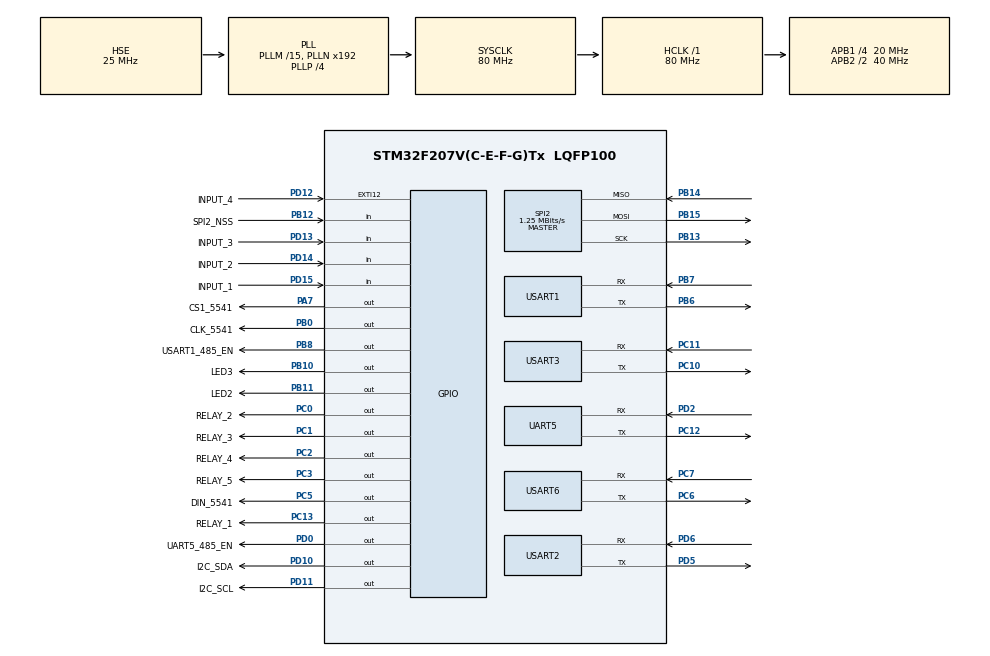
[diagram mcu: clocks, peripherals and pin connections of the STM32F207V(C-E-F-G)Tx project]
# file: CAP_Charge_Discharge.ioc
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Dma.Request0=UART5_TX
Dma.Request1=USART2_TX
Dma.Request2=USART1_TX
Dma.Request3=USART3_TX
Dma.Request4=USART6_TX
Dma.UART5_TX.0.Direction=DMA_MEMORY_TO_PERIPH
Dma.UART5_TX.0.FIFOMode=DMA_FIFOMODE_DISABLE
Dma.UART5_TX.0.Instance=DMA1_Stream7
Dma.UART5_TX.0.MemDataAlignment=DMA_MDATAALIGN_BYTE
Dma.UART5_TX.0.MemInc=DMA_MINC_ENABLE
Dma.UART5_TX.0.Mode=DMA_NORMAL
Dma.UART5_TX.0.PeriphDataAlignment=DMA_PDATAALIGN_BYTE
Dma.UART5_TX.0.PeriphInc=DMA_PINC_DISABLE
Dma.UART5_TX.0.Priority=DMA_PRIORITY_LOW
Dma.USART1_TX.2.Direction=DMA_MEMORY_TO_PERIPH
Dma.USART1_TX.2.FIFOMode=DMA_FIFOMODE_DISABLE
Dma.USART1_TX.2.Instance=DMA2_Stream7
Dma.USART1_TX.2.MemDataAlignment=DMA_MDATAALIGN_BYTE
Dma.USART1_TX.2.MemInc=DMA_MINC_ENABLE
Dma.USART1_TX.2.Mode=DMA_NORMAL
Dma.USART1_TX.2.PeriphDataAlignment=DMA_PDATAALIGN_BYTE
Dma.USART1_TX.2.PeriphInc=DMA_PINC_DISABLE
Dma.USART1_TX.2.Priority=DMA_PRIORITY_LOW
Dma.USART2_TX.1.Direction=DMA_MEMORY_TO_PERIPH
Dma.USART2_TX.1.FIFOMode=DMA_FIFOMODE_DISABLE
Dma.USART2_TX.1.Instance=DMA1_Stream6
Dma.USART2_TX.1.MemDataAlignment=DMA_MDATAALIGN_BYTE
Dma.USART2_TX.1.MemInc=DMA_MINC_ENABLE
Dma.USART2_TX.1.Mode=DMA_NORMAL
Dma.USART2_TX.1.PeriphDataAlignment=DMA_PDATAALIGN_BYTE
Dma.USART2_TX.1.PeriphInc=DMA_PINC_DISABLE
Dma.USART2_TX.1.Priority=DMA_PRIORITY_LOW
Dma.USART3_TX.3.Direction=DMA_MEMORY_TO_PERIPH
Dma.USART3_TX.3.FIFOMode=DMA_FIFOMODE_DISABLE
Dma.USART3_TX.3.Instance=DMA1_Stream3
Dma.USART3_TX.3.MemDataAlignment=DMA_MDATAALIGN_BYTE
Dma.USART3_TX.3.MemInc=DMA_MINC_ENABLE
Dma.USART3_TX.3.Mode=DMA_NORMAL
Dma.USART3_TX.3.PeriphDataAlignment=DMA_PDATAALIGN_BYTE
Dma.USART3_TX.3.PeriphInc=DMA_PINC_DISABLE
Dma.USART3_TX.3.Priority=DMA_PRIORITY_LOW
Dma.USART6_TX.4.Direction=DMA_MEMORY_TO_PERIPH
Dma.USART6_TX.4.FIFOMode=DMA_FIFOMODE_DISABLE
Dma.USART6_TX.4.Instance=DMA2_Stream6
Dma.USART6_TX.4.MemDataAlignment=DMA_MDATAALIGN_BYTE
Dma.USART6_TX.4.MemInc=DMA_MINC_ENABLE
Dma.USART6_TX.4.Mode=DMA_NORMAL
Dma.USART6_TX.4.PeriphDataAlignment=DMA_PDATAALIGN_BYTE
Dma.USART6_TX.4.PeriphInc=DMA_PINC_DISABLE
Dma.USART6_TX.4.Priority=DMA_PRIORITY_LOW
FREERTOS.BinarySemaphores01=BinarySem_rtu,Dynamic,NULL
FREERTOS.Tasks01=InitTask,0,128,StartInitTask,Default,NULL,Dynamic,NULL,NULL;ModbusMasterPol,0,256,Task_ModbusMasterPoll,Default,NULL,Dynamic,NULL,NULL;UartHandle,2,256,Task_UartHandle,Default,NULL,Dynamic,NULL,NULL
FREERTOS.configMINIMAL_STACK_SIZE=64
FREERTOS.configQUEUE_REGISTRY_SIZE=32
FREERTOS.configTIMER_QUEUE_LENGTH=32
FREERTOS.configTOTAL_HEAP_SIZE=25600
FREERTOS.configUSE_TIMERS=1
IWDG.Prescaler=IWDG_PRESCALER_32
IWDG.Reload=1000
Mcu.Family=STM32F2
Mcu.Name=STM32F207V(C-E-F-G)Tx
Mcu.Package=LQFP100
NVIC.DMA1_Stream3_IRQn=true\:5\:0\:false\:false\:true\:true\:false\:true
NVIC.DMA1_Stream6_IRQn=true\:5\:0\:false\:false\:true\:true\:false\:true
NVIC.DMA1_Stream7_IRQn=true\:5\:0\:false\:false\:true\:true\:false\:true
NVIC.DMA2_Stream6_IRQn=true\:5\:0\:false\:false\:true\:true\:false\:true
NVIC.DMA2_Stream7_IRQn=true\:5\:0\:false\:false\:true\:true\:false\:true
NVIC.EXTI15_10_IRQn=true\:5\:0\:false\:false\:true\:true\:true\:true
NVIC.PriorityGroup=NVIC_PRIORITYGROUP_4
NVIC.TIM2_IRQn=true\:5\:0\:false\:false\:true\:true\:true\:true
NVIC.TIM8_TRG_COM_TIM14_IRQn=true\:0\:0\:false\:false\:true\:false\:false\:true
NVIC.TimeBase=TIM8_TRG_COM_TIM14_IRQn
NVIC.TimeBaseIP=TIM14
NVIC.UART5_IRQn=true\:5\:0\:false\:false\:true\:true\:true\:true
NVIC.USART1_IRQn=true\:5\:0\:false\:false\:true\:true\:true\:true
NVIC.USART3_IRQn=true\:5\:0\:false\:false\:true\:true\:true\:true
NVIC.USART6_IRQn=true\:5\:0\:false\:false\:true\:true\:true\:true
PA13.Mode=Serial_Wire
PA13.Signal=SYS_JTMS-SWDIO
PA14.Mode=Serial_Wire
PA14.Signal=SYS_JTCK-SWCLK
PA7.GPIO_Label=CS1_5541
PA7.Signal=GPIO_Output
PB0.GPIO_Label=CLK_5541
PB0.Signal=GPIO_Output
PB10.GPIO_Label=LED3
PB10.Signal=GPIO_Output
PB11.GPIO_Label=LED2
PB11.Signal=GPIO_Output
PB12.GPIO_Label=SPI2_NSS
PB12.Signal=GPIO_Input
PB13.Mode=Full_Duplex_Master
PB13.Signal=SPI2_SCK
PB14.Mode=Full_Duplex_Master
PB14.Signal=SPI2_MISO
PB15.Mode=Full_Duplex_Master
PB15.Signal=SPI2_MOSI
PB6.Mode=Asynchronous
PB6.Signal=USART1_TX
PB7.Mode=Asynchronous
PB7.Signal=USART1_RX
PB8.GPIO_Label=USART1_485_EN
PB8.Signal=GPIO_Output
PC0.GPIO_Label=RELAY_2
PC0.Signal=GPIO_Output
PC1.GPIO_Label=RELAY_3
PC1.Signal=GPIO_Output
PC10.Mode=Asynchronous
PC10.Signal=USART3_TX
PC11.Mode=Asynchronous
PC11.Signal=USART3_RX
PC12.Mode=Asynchronous
PC12.Signal=UART5_TX
PC13.GPIO_Label=RELAY_1
PC13.Signal=GPIO_Output
PC2.GPIO_Label=RELAY_4
PC2.Signal=GPIO_Output
PC3.GPIO_Label=RELAY_5
PC3.Signal=GPIO_Output
PC5.GPIO_Label=DIN_5541
PC5.Signal=GPIO_Output
PC6.Mode=Asynchronous
PC6.Signal=USART6_TX
PC7.Mode=Asynchronous
PC7.Signal=USART6_RX
PD0.GPIO_Label=UART5_485_EN
PD0.Signal=GPIO_Output
PD10.GPIO_Label=I2C_SDA
PD10.Signal=GPIO_Output
PD11.GPIO_Label=I2C_SCL
PD11.Signal=GPIO_Output
PD12.GPIO_Label=INPUT_4
PD12.GPIO_ModeDefaultEXTI=GPIO_MODE_IT_FALLING
PD12.Signal=GPXTI12
PD13.GPIO_Label=INPUT_3
PD13.Signal=GPIO_Input
PD14.GPIO_Label=INPUT_2
PD14.Signal=GPIO_Input
PD15.GPIO_Label=INPUT_1
PD15.Signal=GPIO_Input
PD2.Mode=Asynchronous
PD2.Signal=UART5_RX
PD5.Mode=Asynchronous
PD5.Signal=USART2_TX
PD6.Mode=Asynchronous
PD6.Signal=USART2_RX
PH0-OSC_IN.Mode=HSE-External-Oscillator
PH0-OSC_IN.Signal=RCC_OSC_IN
PH1-OSC_OUT.Mode=HSE-External-Oscillator
PH1-OSC_OUT.Signal=RCC_OSC_OUT
ProjectManager.HeapSize=0x200
ProjectManager.StackSize=0x400
ProjectManager.TargetToolchain=MDK-ARM V5.27
RCC.48MHZClocksFreq_Value=80000000
RCC.AHBFreq_Value=80000000
RCC.APB1CLKDivider=RCC_HCLK_DIV4
RCC.APB1Freq_Value=20000000
RCC.APB1TimFreq_Value=40000000
RCC.APB2CLKDivider=RCC_HCLK_DIV2
RCC.APB2Freq_Value=40000000
RCC.APB2TimFreq_Value=80000000
RCC.CortexFreq_Value=80000000
RCC.HCLKFreq_Value=80000000
RCC.HSE_VALUE=25000000
RCC.HSI_VALUE=16000000
RCC.LSE_VALUE=32768
RCC.PLLM=15
RCC.PLLP=RCC_PLLP_DIV4
RCC.PLLSourceVirtual=RCC_PLLSOURCE_HSE
RCC.SYSCLKFreq_VALUE=80000000
RCC.SYSCLKSource=RCC_SYSCLKSOURCE_PLLCLK
RCC.VCOOutputFreq_Value=320000000
SPI2.BaudRatePrescaler=SPI_BAUDRATEPRESCALER_16
SPI2.CalculateBaudRate=1.25 MBits/s
SPI2.Direction=SPI_DIRECTION_2LINES
SPI2.Mode=SPI_MODE_MASTER
SPI2.VirtualType=VM_MASTER
TIM2.AutoReloadPreload=TIM_AUTORELOAD_PRELOAD_ENABLE
TIM2.Period=99
TIM2.Prescaler=19
UART5.VirtualMode=Asynchronous
USART1.VirtualMode=VM_ASYNC
USART2.VirtualMode=VM_ASYNC
USART3.VirtualMode=VM_ASYNC
USART6.VirtualMode=VM_ASYNC
VP_FREERTOS_VS_CMSIS_V1.Mode=CMSIS_V1
VP_IWDG_VS_IWDG.Mode=IWDG_Activate
VP_SYS_VS_tim14.Mode=TIM14
VP_TIM2_VS_ClockSourceINT.Mode=Internal
board=custom

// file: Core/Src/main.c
/* USER CODE BEGIN Header */
/**
  ******************************************************************************
  * @file           : main.c
  * @brief          : Main program body
  ******************************************************************************
  * @attention
  *
  * <h2><center>&copy; Copyright (c) 2020 STMicroelectronics.
  * All rights reserved.</center></h2>
  *
  * This software component is licensed by ST under Ultimate Liberty license
  * SLA0044, the "License"; You may not use this file except in compliance with
  * the License. You may obtain a copy of the License at:
  *                             www.st.com/SLA0044
  *
  ******************************************************************************
  */
/* USER CODE END Header */

#include "main.h"
#include "cmsis_os.h"

/* USER CODE BEGIN Includes */
#include "FM_Uart.h"
#include "Task_MB_RTU_Master.h"
#include "Task_APPLogic.h"
#include "Task_DCPower.h"
#include "Task_HF_SampleBoard.h"
#include "Task_LCD_Display.h"
#include "Task_PC_Comm.h"

/* USER CODE END Includes */

IWDG_HandleTypeDef hiwdg;

SPI_HandleTypeDef hspi2;

TIM_HandleTypeDef htim2;

UART_HandleTypeDef huart5;
UART_HandleTypeDef huart1;
UART_HandleTypeDef huart2;
UART_HandleTypeDef huart3;
UART_HandleTypeDef huart6;
DMA_HandleTypeDef hdma_uart5_tx;
DMA_HandleTypeDef hdma_usart1_tx;
DMA_HandleTypeDef hdma_usart2_tx;
DMA_HandleTypeDef hdma_usart3_tx;
DMA_HandleTypeDef hdma_usart6_tx;

osThreadId InitTaskHandle;
osThreadId ModbusMasterPolHandle;
osThreadId UartHandleHandle;
osSemaphoreId BinarySem_rtuHandle;
/* USER CODE BEGIN PV */
uint8_t UartRecv[NUM_UARTCHANNEL];
/* USER CODE END PV */

void SystemClock_Config(void);
static void MX_GPIO_Init(void);
static void MX_DMA_Init(void);
static void MX_SPI2_Init(void);
static void MX_USART3_UART_Init(void);
static void MX_UART5_Init(void);
static void MX_IWDG_Init(void);
static void MX_TIM2_Init(void);
static void MX_USART2_UART_Init(void);
static void MX_USART1_UART_Init(void);
static void MX_USART6_UART_Init(void);
void StartInitTask(void const * argument);
void Task_ModbusMasterPoll(void const * argument);
void Task_UartHandle(void const * argument);

int main(void)
{

  /* MCU Configuration--------------------------------------------------------*/

  /* Reset of all peripherals, Initializes the Flash interface and the Systick. */
  HAL_Init();

  /* Configure the system clock */
  SystemClock_Config();

  /* Initialize all configured peripherals */
  MX_GPIO_Init();
  MX_DMA_Init();
  MX_SPI2_Init();
  MX_USART3_UART_Init();
  MX_UART5_Init();
  MX_IWDG_Init();
  MX_TIM2_Init();
  MX_USART2_UART_Init();
  MX_USART1_UART_Init();
  MX_USART6_UART_Init();

  /* Create the semaphores(s) */
  /* definition and creation of BinarySem_rtu */
  osSemaphoreDef(BinarySem_rtu);
  BinarySem_rtuHandle = osSemaphoreCreate(osSemaphore(BinarySem_rtu), 1);

  /* Create the thread(s) */
  /* definition and creation of InitTask */
  osThreadDef(InitTask, StartInitTask, osPriorityNormal, 0, 128);
  InitTaskHandle = osThreadCreate(osThread(InitTask), NULL);

  /* definition and creation of ModbusMasterPol */
  osThreadDef(ModbusMasterPol, Task_ModbusMasterPoll, osPriorityNormal, 0, 256);
  ModbusMasterPolHandle = osThreadCreate(osThread(ModbusMasterPol), NULL);

  /* definition and creation of UartHandle */
  osThreadDef(UartHandle, Task_UartHandle, osPriorityHigh, 0, 256);
  UartHandleHandle = osThreadCreate(osThread(UartHandle), NULL);

  /* Start scheduler */
  osKernelStart();

  /* We should never get here as control is now taken by the scheduler */

  /* Infinite loop */
  while (1)
  {

  }
}

void SystemClock_Config(void)
{
  RCC_OscInitTypeDef RCC_OscInitStruct = {0};
  RCC_ClkInitTypeDef RCC_ClkInitStruct = {0};

  /** Initializes the CPU, AHB and APB busses clocks
  */
  RCC_OscInitStruct.OscillatorType = RCC_OSCILLATORTYPE_LSI|RCC_OSCILLATORTYPE_HSE;
  RCC_OscInitStruct.HSEState = RCC_HSE_ON;
  RCC_OscInitStruct.LSIState = RCC_LSI_ON;
  RCC_OscInitStruct.PLL.PLLState = RCC_PLL_ON;
  RCC_OscInitStruct.PLL.PLLSource = RCC_PLLSOURCE_HSE;
  RCC_OscInitStruct.PLL.PLLM = 15;
  RCC_OscInitStruct.PLL.PLLN = 192;
  RCC_OscInitStruct.PLL.PLLP = RCC_PLLP_DIV4;
  RCC_OscInitStruct.PLL.PLLQ = 4;
  if (HAL_RCC_OscConfig(&RCC_OscInitStruct) != HAL_OK)
  {
    Error_Handler();
  }
  /** Initializes the CPU, AHB and APB busses clocks
  */
  RCC_ClkInitStruct.ClockType = RCC_CLOCKTYPE_HCLK|RCC_CLOCKTYPE_SYSCLK
                              |RCC_CLOCKTYPE_PCLK1|RCC_CLOCKTYPE_PCLK2;
  RCC_ClkInitStruct.SYSCLKSource = RCC_SYSCLKSOURCE_PLLCLK;
  RCC_ClkInitStruct.AHBCLKDivider = RCC_SYSCLK_DIV1;
  RCC_ClkInitStruct.APB1CLKDivider = RCC_HCLK_DIV4;
  RCC_ClkInitStruct.APB2CLKDivider = RCC_HCLK_DIV2;

  if (HAL_RCC_ClockConfig(&RCC_ClkInitStruct, FLASH_LATENCY_2) != HAL_OK)
  {
    Error_Handler();
  }
}

static void MX_IWDG_Init(void)
{

  hiwdg.Instance = IWDG;
  hiwdg.Init.Prescaler = IWDG_PRESCALER_32;
  hiwdg.Init.Reload = 1000;
  if (HAL_IWDG_Init(&hiwdg) != HAL_OK)
  {
    Error_Handler();
  }

}

static void MX_SPI2_Init(void)
{

  /* SPI2 parameter configuration*/
  hspi2.Instance = SPI2;
  hspi2.Init.Mode = SPI_MODE_MASTER;
  hspi2.Init.Direction = SPI_DIRECTION_2LINES;
  hspi2.Init.DataSize = SPI_DATASIZE_8BIT;
  hspi2.Init.CLKPolarity = SPI_POLARITY_LOW;
  hspi2.Init.CLKPhase = SPI_PHASE_1EDGE;
  hspi2.Init.NSS = SPI_NSS_SOFT;
  hspi2.Init.BaudRatePrescaler = SPI_BAUDRATEPRESCALER_16;
  hspi2.Init.FirstBit = SPI_FIRSTBIT_MSB;
  hspi2.Init.TIMode = SPI_TIMODE_DISABLE;
  hspi2.Init.CRCCalculation = SPI_CRCCALCULATION_DISABLE;
  hspi2.Init.CRCPolynomial = 10;
  if (HAL_SPI_Init(&hspi2) != HAL_OK)
  {
    Error_Handler();
  }

}

static void MX_TIM2_Init(void)
{

  TIM_ClockConfigTypeDef sClockSourceConfig = {0};
  TIM_MasterConfigTypeDef sMasterConfig = {0};

  htim2.Instance = TIM2;
  htim2.Init.Prescaler = 19;
  htim2.Init.CounterMode = TIM_COUNTERMODE_UP;
  htim2.Init.Period = 99;
  htim2.Init.ClockDivision = TIM_CLOCKDIVISION_DIV1;
  htim2.Init.AutoReloadPreload = TIM_AUTORELOAD_PRELOAD_ENABLE;
  if (HAL_TIM_Base_Init(&htim2) != HAL_OK)
  {
    Error_Handler();
  }
  sClockSourceConfig.ClockSource = TIM_CLOCKSOURCE_INTERNAL;
  if (HAL_TIM_ConfigClockSource(&htim2, &sClockSourceConfig) != HAL_OK)
  {
    Error_Handler();
  }
  sMasterConfig.MasterOutputTrigger = TIM_TRGO_RESET;
  sMasterConfig.MasterSlaveMode = TIM_MASTERSLAVEMODE_DISABLE;
  if (HAL_TIMEx_MasterConfigSynchronization(&htim2, &sMasterConfig) != HAL_OK)
  {
    Error_Handler();
  }

}

static void MX_UART5_Init(void)
{

  huart5.Instance = UART5;
  huart5.Init.BaudRate = 115200;
  huart5.Init.WordLength = UART_WORDLENGTH_8B;
  huart5.Init.StopBits = UART_STOPBITS_1;
  huart5.Init.Parity = UART_PARITY_NONE;
  huart5.Init.Mode = UART_MODE_TX_RX;
  huart5.Init.HwFlowCtl = UART_HWCONTROL_NONE;
  huart5.Init.OverSampling = UART_OVERSAMPLING_16;
  if (HAL_UART_Init(&huart5) != HAL_OK)
  {
    Error_Handler();
  }

}

static void MX_USART1_UART_Init(void)
{

  huart1.Instance = USART1;
  huart1.Init.BaudRate = 115200;
  huart1.Init.WordLength = UART_WORDLENGTH_8B;
  huart1.Init.StopBits = UART_STOPBITS_1;
  huart1.Init.Parity = UART_PARITY_NONE;
  huart1.Init.Mode = UART_MODE_TX_RX;
  huart1.Init.HwFlowCtl = UART_HWCONTROL_NONE;
  huart1.Init.OverSampling = UART_OVERSAMPLING_16;
  if (HAL_UART_Init(&huart1) != HAL_OK)
  {
    Error_Handler();
  }

}

static void MX_USART2_UART_Init(void)
{

  huart2.Instance = USART2;
  huart2.Init.BaudRate = 115200;
  huart2.Init.WordLength = UART_WORDLENGTH_8B;
  huart2.Init.StopBits = UART_STOPBITS_1;
  huart2.Init.Parity = UART_PARITY_NONE;
  huart2.Init.Mode = UART_MODE_TX_RX;
  huart2.Init.HwFlowCtl = UART_HWCONTROL_NONE;
  huart2.Init.OverSampling = UART_OVERSAMPLING_16;
  if (HAL_UART_Init(&huart2) != HAL_OK)
  {
    Error_Handler();
  }

}

static void MX_USART3_UART_Init(void)
{

  huart3.Instance = USART3;
  huart3.Init.BaudRate = 115200;
  huart3.Init.WordLength = UART_WORDLENGTH_8B;
  huart3.Init.StopBits = UART_STOPBITS_1;
  huart3.Init.Parity = UART_PARITY_NONE;
  huart3.Init.Mode = UART_MODE_TX_RX;
  huart3.Init.HwFlowCtl = UART_HWCONTROL_NONE;
  huart3.Init.OverSampling = UART_OVERSAMPLING_16;
  if (HAL_UART_Init(&huart3) != HAL_OK)
  {
    Error_Handler();
  }

}

static void MX_USART6_UART_Init(void)
{

  huart6.Instance = USART6;
  huart6.Init.BaudRate = 115200;
  huart6.Init.WordLength = UART_WORDLENGTH_8B;
  huart6.Init.StopBits = UART_STOPBITS_1;
  huart6.Init.Parity = UART_PARITY_NONE;
  huart6.Init.Mode = UART_MODE_TX_RX;
  huart6.Init.HwFlowCtl = UART_HWCONTROL_NONE;
  huart6.Init.OverSampling = UART_OVERSAMPLING_16;
  if (HAL_UART_Init(&huart6) != HAL_OK)
  {
    Error_Handler();
  }

}

static void MX_DMA_Init(void)
{

  /* DMA controller clock enable */
  __HAL_RCC_DMA1_CLK_ENABLE();
  __HAL_RCC_DMA2_CLK_ENABLE();

  /* DMA interrupt init */
  /* DMA1_Stream3_IRQn interrupt configuration */
  HAL_NVIC_SetPriority(DMA1_Stream3_IRQn, 5, 0);
  HAL_NVIC_EnableIRQ(DMA1_Stream3_IRQn);
  /* DMA1_Stream6_IRQn interrupt configuration */
  HAL_NVIC_SetPriority(DMA1_Stream6_IRQn, 5, 0);
  HAL_NVIC_EnableIRQ(DMA1_Stream6_IRQn);
  /* DMA1_Stream7_IRQn interrupt configuration */
  HAL_NVIC_SetPriority(DMA1_Stream7_IRQn, 5, 0);
  HAL_NVIC_EnableIRQ(DMA1_Stream7_IRQn);
  /* DMA2_Stream6_IRQn interrupt configuration */
  HAL_NVIC_SetPriority(DMA2_Stream6_IRQn, 5, 0);
  HAL_NVIC_EnableIRQ(DMA2_Stream6_IRQn);
  /* DMA2_Stream7_IRQn interrupt configuration */
  HAL_NVIC_SetPriority(DMA2_Stream7_IRQn, 5, 0);
  HAL_NVIC_EnableIRQ(DMA2_Stream7_IRQn);

}

static void MX_GPIO_Init(void)
{
  GPIO_InitTypeDef GPIO_InitStruct = {0};

  /* GPIO Ports Clock Enable */
  __HAL_RCC_GPIOC_CLK_ENABLE();
  __HAL_RCC_GPIOH_CLK_ENABLE();
  __HAL_RCC_GPIOA_CLK_ENABLE();
  __HAL_RCC_GPIOB_CLK_ENABLE();
  __HAL_RCC_GPIOD_CLK_ENABLE();

  /*Configure GPIO pin Output Level */
  HAL_GPIO_WritePin(GPIOC, RELAY_1_Pin|RELAY_2_Pin|RELAY_3_Pin|RELAY_4_Pin
                          |RELAY_5_Pin|DIN_5541_Pin, GPIO_PIN_RESET);

  /*Configure GPIO pin Output Level */
  HAL_GPIO_WritePin(CS1_5541_GPIO_Port, CS1_5541_Pin, GPIO_PIN_RESET);

  /*Configure GPIO pin Output Level */
  HAL_GPIO_WritePin(GPIOB, CLK_5541_Pin|LED3_Pin|LED2_Pin|USART1_485_EN_Pin, GPIO_PIN_RESET);

  /*Configure GPIO pin Output Level */
  HAL_GPIO_WritePin(GPIOD, I2C_SDA_Pin|I2C_SCL_Pin|UART5_485_EN_Pin, GPIO_PIN_RESET);

  /*Configure GPIO pins : RELAY_1_Pin RELAY_2_Pin RELAY_3_Pin RELAY_4_Pin
                           RELAY_5_Pin DIN_5541_Pin */
  GPIO_InitStruct.Pin = RELAY_1_Pin|RELAY_2_Pin|RELAY_3_Pin|RELAY_4_Pin
                          |RELAY_5_Pin|DIN_5541_Pin;
  GPIO_InitStruct.Mode = GPIO_MODE_OUTPUT_PP;
  GPIO_InitStruct.Pull = GPIO_NOPULL;
  GPIO_InitStruct.Speed = GPIO_SPEED_FREQ_LOW;
  HAL_GPIO_Init(GPIOC, &GPIO_InitStruct);

  /*Configure GPIO pin : CS1_5541_Pin */
  GPIO_InitStruct.Pin = CS1_5541_Pin;
  GPIO_InitStruct.Mode = GPIO_MODE_OUTPUT_PP;
  GPIO_InitStruct.Pull = GPIO_NOPULL;
  GPIO_InitStruct.Speed = GPIO_SPEED_FREQ_LOW;
  HAL_GPIO_Init(CS1_5541_GPIO_Port, &GPIO_InitStruct);

  /*Configure GPIO pins : CLK_5541_Pin LED3_Pin LED2_Pin USART1_485_EN_Pin */
  GPIO_InitStruct.Pin = CLK_5541_Pin|LED3_Pin|LED2_Pin|USART1_485_EN_Pin;
  GPIO_InitStruct.Mode = GPIO_MODE_OUTPUT_PP;
  GPIO_InitStruct.Pull = GPIO_NOPULL;
  GPIO_InitStruct.Speed = GPIO_SPEED_FREQ_LOW;
  HAL_GPIO_Init(GPIOB, &GPIO_InitStruct);

  /*Configure GPIO pin : SPI2_NSS_Pin */
  GPIO_InitStruct.Pin = SPI2_NSS_Pin;
  GPIO_InitStruct.Mode = GPIO_MODE_INPUT;
  GPIO_InitStruct.Pull = GPIO_NOPULL;
  HAL_GPIO_Init(SPI2_NSS_GPIO_Port, &GPIO_InitStruct);

  /*Configure GPIO pins : I2C_SDA_Pin I2C_SCL_Pin UART5_485_EN_Pin */
  GPIO_InitStruct.Pin = I2C_SDA_Pin|I2C_SCL_Pin|UART5_485_EN_Pin;
  GPIO_InitStruct.Mode = GPIO_MODE_OUTPUT_PP;
  GPIO_InitStruct.Pull = GPIO_NOPULL;
  GPIO_InitStruct.Speed = GPIO_SPEED_FREQ_LOW;
  HAL_GPIO_Init(GPIOD, &GPIO_InitStruct);

  /*Configure GPIO pins : INPUT_4_Pin INPUT_3_Pin INPUT_2_Pin INPUT_1_Pin */
  GPIO_InitStruct.Pin = INPUT_4_Pin|INPUT_3_Pin|INPUT_2_Pin|INPUT_1_Pin;
  GPIO_InitStruct.Mode = GPIO_MODE_INPUT;
  GPIO_InitStruct.Pull = GPIO_NOPULL;
  HAL_GPIO_Init(GPIOD, &GPIO_InitStruct);

}

/* USER CODE BEGIN 4 */
void HAL_UART_RxCpltCallback(UART_HandleTypeDef *huart)
{
	if(huart->Instance == USART1)
	{
		//HAL_UART_Transmit_DMA(&huart3,UartRecv,1);	// 接收到数据马上使用串口1发送出去
		UsartRecieveData(USART_1,UartRecv[USART_1]);
		HAL_UART_Receive_IT(&huart1,(uint8_t *)&UartRecv[USART_1],1);//开启串口接收中断
	}
  else if(huart->Instance == USART2)
	{
    UsartRecieveData(USART_2,UartRecv[USART_2]);
		HAL_UART_Receive_IT(&huart2,(uint8_t *)&UartRecv[USART_2],1);//开启串口接收中断
	}
  else if(huart->Instance == USART3)
	{
    UsartRecieveData(USART_3,UartRecv[USART_3]);
		HAL_UART_Receive_IT(&huart3,(uint8_t *)&UartRecv[USART_3],1);//开启串口接收中断
	}
  else if(huart->Instance == UART5)
	{
    UsartRecieveData(UART_5,UartRecv[UART_5]);
		HAL_UART_Receive_IT(&huart5,(uint8_t *)&UartRecv[UART_5],1);//开启串口接收中断
	}
  else if(huart->Instance == USART6)
	{
    UsartRecieveData(USART_6,UartRecv[USART_6]);
		HAL_UART_Receive_IT(&huart6,(uint8_t *)&UartRecv[USART_6],1);//开启串口接收中断
	}
  else
  {

  }
}

void HAL_UART_TxCpltCallback(UART_HandleTypeDef *huart)
{
  if(huart->Instance == USART1)
	{
		USART1_485_RX_ENABLE;
	}
  else if(huart->Instance == UART5)
	{
    UART5_485_RX_ENABLE;
	}
  else
  {

  }
}

/**
  * @brief  写1字节数据到SPI总线
  * @param  TxData 写到总线的数据
  * @retval None
  */
void SPI_WriteByte(uint8_t TxData)
{
	HAL_SPI_Transmit(&hspi2,&TxData,1,100);
}
/**
  * @brief  从SPI总线读取1字节数据
  * @retval 读到的数据
  */
void SPI_ReadByte(uint8_t *buf, uint8_t size)
{
	uint8_t Txdata[1]={0xFF};
	//uint8_t data[4];
	HAL_SPI_TransmitReceive(&hspi2,Txdata,(uint8_t *)buf,size,10);
	//HAL_SPI_Receive(&hspi1,(uint8_t *)buf,size,1);
}

/* USER CODE END 4 */

void StartInitTask(void const * argument)
{
  /* USER CODE BEGIN 5 */

	HAL_TIM_Base_Start_IT(&htim2);//开启定时器中断
	HAL_UART_Receive_IT(&huart1,(uint8_t *)&UartRecv[USART_1],1);//开启串口接收中断
	HAL_UART_Receive_IT(&huart2,(uint8_t *)&UartRecv[USART_2],1);//开启串口接收中断
	HAL_UART_Receive_IT(&huart3,(uint8_t *)&UartRecv[USART_3],1);//开启串口接收中断
	HAL_UART_Receive_IT(&huart5,(uint8_t *)&UartRecv[UART_5],1);//开启串口接收中断
	HAL_UART_Receive_IT(&huart6,(uint8_t *)&UartRecv[USART_6],1);//开启串口接收中断
	FM_Usart_Init();
  Platform_Init();
  /* Infinite loop */
  for(;;)
  {
    LED3_ON;
    osDelay(200);
    LED3_OFF;
    osDelay(200);
    HAL_IWDG_Refresh(&hiwdg);
  }
  /* USER CODE END 5 */
}

void Task_ModbusMasterPoll(void const * argument)
{
  /* USER CODE BEGIN Task_ModbusMasterPoll */

  /* Infinite loop */
  for(;;)
  {
    MBRTU_Master_MainFunction((void *)argument);
    PC_Comm_MainFunction((void *)argument);
    LCD_Display_MainFunction((void *)argument);

    osDelay(1);
  }
  /* USER CODE END Task_ModbusMasterPoll */
}

void Task_UartHandle(void const * argument)
{
  /* USER CODE BEGIN Task_UartHandle */
  FM_Usart_Init();
  /* Infinite loop */
  for(;;)
  {
    FM_Usart_Mainfunction((void *)argument);
    osDelay(1);
  }
  /* USER CODE END Task_UartHandle */
}

void HAL_TIM_PeriodElapsedCallback(TIM_HandleTypeDef *htim)
{
  /* USER CODE BEGIN Callback 0 */
  static uint16_t cnt =0;
  /* USER CODE END Callback 0 */
  if (htim->Instance == TIM14) {
    HAL_IncTick();
  }
  /* USER CODE BEGIN Callback 1 */
  if (htim->Instance == TIM2) {
    USART_Timer100us();
    cnt++;
    if(cnt>=10)
    {
      cnt=0;
      RTU_Timer1ms_Handler();
      HAL_GPIO_TogglePin(LED2_GPIO_Port,LED2_Pin);
    }
  }
  /* USER CODE END Callback 1 */
}

void Error_Handler(void)
{
}

/************************ (C) COPYRIGHT STMicroelectronics *****END OF FILE****/
